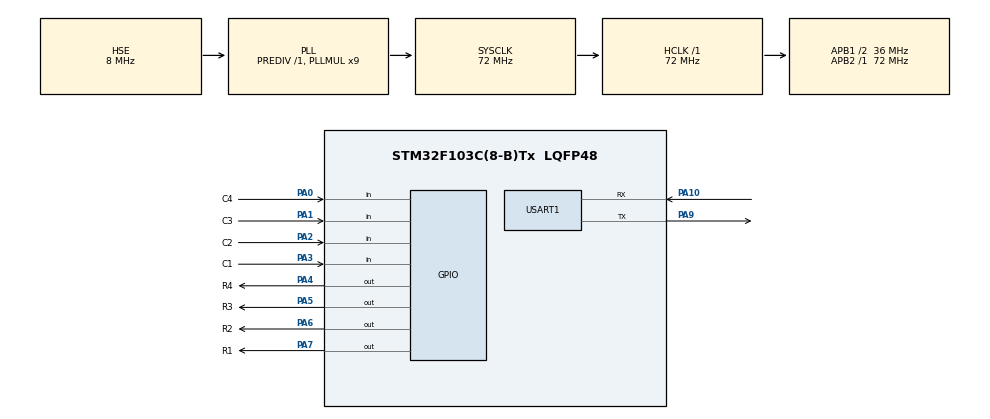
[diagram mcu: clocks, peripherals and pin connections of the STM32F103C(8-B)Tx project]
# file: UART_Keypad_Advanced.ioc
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Mcu.Family=STM32F1
Mcu.Name=STM32F103C(8-B)Tx
Mcu.Package=LQFP48
NVIC.PriorityGroup=NVIC_PRIORITYGROUP_4
PA0-WKUP.GPIO_Label=C4
PA0-WKUP.GPIO_PuPd=GPIO_PULLUP
PA0-WKUP.Signal=GPIO_Input
PA1.GPIO_Label=C3
PA1.GPIO_PuPd=GPIO_PULLUP
PA1.Signal=GPIO_Input
PA10.Mode=Asynchronous
PA10.Signal=USART1_RX
PA13.Mode=Serial_Wire
PA13.Signal=SYS_JTMS-SWDIO
PA14.Mode=Serial_Wire
PA14.Signal=SYS_JTCK-SWCLK
PA2.GPIO_Label=C2
PA2.GPIO_PuPd=GPIO_PULLUP
PA2.Signal=GPIO_Input
PA3.GPIO_Label=C1
PA3.GPIO_PuPd=GPIO_PULLUP
PA3.Signal=GPIO_Input
PA4.GPIO_Label=R4
PA4.Signal=GPIO_Output
PA5.GPIO_Label=R3
PA5.Signal=GPIO_Output
PA6.GPIO_Label=R2
PA6.Signal=GPIO_Output
PA7.GPIO_Label=R1
PA7.Signal=GPIO_Output
PA9.Mode=Asynchronous
PA9.Signal=USART1_TX
PD0-OSC_IN.Mode=HSE-External-Oscillator
PD0-OSC_IN.Signal=RCC_OSC_IN
PD1-OSC_OUT.Mode=HSE-External-Oscillator
PD1-OSC_OUT.Signal=RCC_OSC_OUT
ProjectManager.HeapSize=0x200
ProjectManager.StackSize=0x400
ProjectManager.TargetToolchain=STM32CubeIDE
RCC.AHBFreq_Value=72000000
RCC.APB1CLKDivider=RCC_HCLK_DIV2
RCC.APB1Freq_Value=36000000
RCC.APB1TimFreq_Value=72000000
RCC.APB2Freq_Value=72000000
RCC.APB2TimFreq_Value=72000000
RCC.HCLKFreq_Value=72000000
RCC.PLLMUL=RCC_PLL_MUL9
RCC.PLLSourceVirtual=RCC_PLLSOURCE_HSE
RCC.SYSCLKFreq_VALUE=72000000
RCC.SYSCLKSource=RCC_SYSCLKSOURCE_PLLCLK
RCC.USBFreq_Value=72000000
USART1.VirtualMode=VM_ASYNC
board=custom

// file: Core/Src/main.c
/* USER CODE BEGIN Header */
/**
  ******************************************************************************
  * @file           : main.c
  * @brief          : Controlador de teclado de matriz 4x4 con interfaz de terminal mejorada
  * @author         : Daniel Ruiz
  * @date           : 01 Oct 2025
  ******************************************************************************
  * @description
  * Este programa implementa un escáner de teclado matricial 4x4 para microcontroladores STM32.
  * Características:
  * - Visualización de teclas en tiempo real con retroalimentación visual
  * - Salida codificada por colores mediante secuencias de escape ANSI
  * - Seguimiento del historial de teclas
  * - Display de estadísticas (total de teclas presionadas)
  * - Layout en terminal limpio y organizado
  *
  * Configuración de hardware:
  * - Filas (R1-R4): Pines de salida configurados como push-pull
  * - Columnas (C1-C4): Pines de entrada con resistencias pull-up
  * - UART1: 115200 baudios, configuración 8N1
  *
  * Requisitos de terminal
  *   - Debe de soportar secuencias de salida ANSI
  *   - Recomensadas: Putty, Tera Term, o similar
  *
  * Keypad Layout:
  *     C1   C2   C3   C4
  * R1  1    2    3    A
  * R2  4    5    6    B
  * R3  7    8    9    C
  * R4  *    0    #    D
  *
  * @attention
  *
  * Copyright (c) 2025 STMicroelectronics.
  * All rights reserved.
  *
  * This software is licensed under terms that can be found in the LICENSE file
  * in the root directory of this software component.
  * If no LICENSE file comes with this software, it is provided AS-IS.
  *
  ******************************************************************************
  */
/* USER CODE END Header */
#include "main.h"

/* USER CODE BEGIN Includes */
#include "stdio.h"
#include "string.h"
/* USER CODE END Includes */

/* USER CODE BEGIN PD */

// Configuración del tiempo de debounce (en milisegundos)
#define DEBOUNCE_TIME       50      // Tiempo mínimo entre lecturas de teclas
#define KEY_REPEAT_TIME     200     // Tiempo antes de permitir la repetición de la misma tecla
#define KEY_RELEASE_TIME    500     // Tiempo de espera antes de borrar la última tecla

// TIempo de actualización de display
#define DISPLAY_UPDATE_MS   100     // Actualiza el display cada 100 ms

//Configuración de historial de teclas
#define HISTORY_SIZE        10      // Numero de teclas a mantener en el historial

// Códigos ANSI para salida a terminal
#define COLOR_RESET         "\033[0m"
#define COLOR_RED           "\033[31m"
#define COLOR_GREEN         "\033[32m"
#define COLOR_YELLOW        "\033[33m"
#define COLOR_BLUE          "\033[34m"
#define COLOR_MAGENTA       "\033[35m"
#define COLOR_CYAN          "\033[36m"
#define COLOR_WHITE         "\033[37m"
#define COLOR_BRIGHT_GREEN  "\033[92m"
#define COLOR_BRIGHT_CYAN   "\033[96m"
#define COLOR_BRIGHT_YELLOW "\033[93m"

// Formato de texto ANSI
#define TEXT_BOLD           "\033[1m"
#define TEXT_DIM            "\033[2m"
#define TEXT_UNDERLINE      "\033[4m"
#define TEXT_BLINK          "\033[5m"

// Control de cursor ANSI
#define CURSOR_HOME         "\033[H"
#define CLEAR_SCREEN        "\033[2J"
#define CLEAR_LINE          "\033[2K"
#define CURSOR_HIDE         "\033[?25l"
#define CURSOR_SHOW         "\033[?25h"

/* USER CODE END PD */

UART_HandleTypeDef huart1;

/* USER CODE BEGIN PV */

// Variables de seguimiento del estado del teclado
static uint32_t lastKeyTime = 0;  // Marca de tiempo de la última pulsación de tecla válida
static char lastKey = 0;          // Última tecla presionada
static uint8_t keyReleased = 1;   // Bandera para rastrear si se soltó la tecla

// Variables de estado del display
static uint32_t lastDisplayUpdate = 0;    // Última vez que el display fue actualizado
static uint32_t totalKeysPressed = 0;      // Cuenta total de teclas presionadas
static char     keyHistory[HISTORY_SIZE]; // Buffer circular para las teclas presionadas
static uint8_t  historyIndex = 0;         // Posición actual del buffer de historial

// Buffer para las cadenas formateadas
char displayBuffer[512];                  // Buffer formateado para salidas complejas

/* USER CODE END PV */

void SystemClock_Config(void);
static void MX_GPIO_Init(void);
static void MX_USART1_UART_Init(void);
/* USER CODE BEGIN PFP */

/**
 * @brief Escanea el teclado de matriz 4x4 y devuelve la tecla presionada
 * @retval char: carácter ASCII de la tecla presionada, o 0 si no se presionó ninguna tecla
 */
char Read_Keypad(void);

/**
 * @brief  Inicializa el display de la terminal
 * @retval None
 */
void Terminal_Init(void);

/**
 * @brief  Actualiza la pantalla del terminal con el estado actual del teclado
 * @param  currentKey: Tecla presionada actualmente (0 si no hay ninguna)
 * @retval None
 */
void Terminal_Update(char currentKey);

/**
 * @brief  Agrega una clave al buffer de historial
 * @param  key: Tecla a agregar
 * @retval None
 */
void AddToHistory(char key);

/**
 * @brief  Transmite una cadena a través de UART
 * @param  str: Cadena terminada en nulo para transmitir
 * @retval None
 */
void UART_Print(const char* str);

/* USER CODE END PFP */

int main(void)
{

  /* USER CODE BEGIN 1 */
  char currentKey = 0;
  char previousKey = 0;
  /* USER CODE END 1 */

  /* MCU Configuration--------------------------------------------------------*/

  /* Reset of all peripherals, Initializes the Flash interface and the Systick. */
  HAL_Init();

  /* Configure the system clock */
  SystemClock_Config();

  /* Initialize all configured peripherals */
  MX_GPIO_Init();
  MX_USART1_UART_Init();
  /* USER CODE BEGIN 2 */

  // Pequeño delay para que termine de inicialziar la terminal
  HAL_Delay(500);

  // Inicializa el display de la terminal
  Terminal_Init();

  // Actualización inicial del display
  Terminal_Update(0);

  /* USER CODE END 2 */

  /* Infinite loop */
  /* USER CODE BEGIN WHILE */
  while (1)
  {

    // Escanea el teclado matricial por teclas presionadas
    currentKey = Read_Keypad();

    // Revisa si hay nuevas teclas presionadas (diferente de la anterior)
    if(currentKey != 0 && currentKey != previousKey)
    {
      // Agrega la tecla al historial
      AddToHistory(currentKey);

      // Actualiza la tecla anterior
      previousKey = currentKey;

      //Actualiza el display inmediatamente cuando se presiona una tecla
      Terminal_Update(currentKey);
    }
    else if(currentKey == 0 && previousKey != 0)
    {
      // La tecla fue liberada
      previousKey = 0;
    }

    //Actualización periódica del display (cada DISPLAY_UPDATE_MS)
    uint32_t currentTime = HAL_GetTick();
    if((currentTime - lastDisplayUpdate) >= DISPLAY_UPDATE_MS)
    {
      lastDisplayUpdate = currentTime;
      Terminal_Update(currentKey);
    }

    // Pequeño delay para prevenir sobrecarga de CPU
    HAL_Delay(10);

    /* USER CODE END WHILE */

  }
}

void SystemClock_Config(void)
{
  RCC_OscInitTypeDef RCC_OscInitStruct = {0};
  RCC_ClkInitTypeDef RCC_ClkInitStruct = {0};

  /** Initializes the RCC Oscillators according to the specified parameters
  * in the RCC_OscInitTypeDef structure.
  */
  RCC_OscInitStruct.OscillatorType = RCC_OSCILLATORTYPE_HSE;
  RCC_OscInitStruct.HSEState = RCC_HSE_ON;
  RCC_OscInitStruct.HSEPredivValue = RCC_HSE_PREDIV_DIV1;
  RCC_OscInitStruct.HSIState = RCC_HSI_ON;
  RCC_OscInitStruct.PLL.PLLState = RCC_PLL_ON;
  RCC_OscInitStruct.PLL.PLLSource = RCC_PLLSOURCE_HSE;
  RCC_OscInitStruct.PLL.PLLMUL = RCC_PLL_MUL9;
  if (HAL_RCC_OscConfig(&RCC_OscInitStruct) != HAL_OK)
  {
    Error_Handler();
  }

  /** Initializes the CPU, AHB and APB buses clocks
  */
  RCC_ClkInitStruct.ClockType = RCC_CLOCKTYPE_HCLK|RCC_CLOCKTYPE_SYSCLK
                              |RCC_CLOCKTYPE_PCLK1|RCC_CLOCKTYPE_PCLK2;
  RCC_ClkInitStruct.SYSCLKSource = RCC_SYSCLKSOURCE_PLLCLK;
  RCC_ClkInitStruct.AHBCLKDivider = RCC_SYSCLK_DIV1;
  RCC_ClkInitStruct.APB1CLKDivider = RCC_HCLK_DIV2;
  RCC_ClkInitStruct.APB2CLKDivider = RCC_HCLK_DIV1;

  if (HAL_RCC_ClockConfig(&RCC_ClkInitStruct, FLASH_LATENCY_2) != HAL_OK)
  {
    Error_Handler();
  }
}

static void MX_USART1_UART_Init(void)
{

  huart1.Instance = USART1;
  huart1.Init.BaudRate = 115200;
  huart1.Init.WordLength = UART_WORDLENGTH_8B;
  huart1.Init.StopBits = UART_STOPBITS_1;
  huart1.Init.Parity = UART_PARITY_NONE;
  huart1.Init.Mode = UART_MODE_TX_RX;
  huart1.Init.HwFlowCtl = UART_HWCONTROL_NONE;
  huart1.Init.OverSampling = UART_OVERSAMPLING_16;
  if (HAL_UART_Init(&huart1) != HAL_OK)
  {
    Error_Handler();
  }

}

static void MX_GPIO_Init(void)
{
  GPIO_InitTypeDef GPIO_InitStruct = {0};

  /* GPIO Ports Clock Enable */
  __HAL_RCC_GPIOD_CLK_ENABLE();
  __HAL_RCC_GPIOA_CLK_ENABLE();

  /*Configure GPIO pin Output Level */
  HAL_GPIO_WritePin(GPIOA, R4_Pin|R3_Pin|R2_Pin|R1_Pin, GPIO_PIN_RESET);

  /*Configure GPIO pins : C4_Pin C3_Pin C2_Pin C1_Pin */
  GPIO_InitStruct.Pin = C4_Pin|C3_Pin|C2_Pin|C1_Pin;
  GPIO_InitStruct.Mode = GPIO_MODE_INPUT;
  GPIO_InitStruct.Pull = GPIO_PULLUP;
  HAL_GPIO_Init(GPIOA, &GPIO_InitStruct);

  /*Configure GPIO pins : R4_Pin R3_Pin R2_Pin R1_Pin */
  GPIO_InitStruct.Pin = R4_Pin|R3_Pin|R2_Pin|R1_Pin;
  GPIO_InitStruct.Mode = GPIO_MODE_OUTPUT_PP;
  GPIO_InitStruct.Pull = GPIO_NOPULL;
  GPIO_InitStruct.Speed = GPIO_SPEED_FREQ_LOW;
  HAL_GPIO_Init(GPIOA, &GPIO_InitStruct);

}

/* USER CODE BEGIN 4 */

/**
 ******************************************************************************
 * @brief  Transmite una cadena a través de UART
 * @param  str: Cadena terminada en nulo para transmitir
 * @retval None
 ******************************************************************************
 */
void UART_Print(const char* str)
{
  HAL_UART_Transmit(&huart1, (uint8_t*)str, strlen(str), 1000);
}

/**
 ******************************************************************************
 * @brief  Inicializa el display de la terminal
 * @retval None
 ******************************************************************************
 */
void Terminal_Init(void)
{
  // Limpia la pantalla y esconde el cursor para un display más limpio
  UART_Print(CLEAR_SCREEN CURSOR_HOME CURSOR_HIDE);

  // Imprime el header con el título
  sprintf(displayBuffer,
    "%s╔═══════════════════════════════════════════════╗%s\r\n"
    "%s║         %sMONITOR TECLADO MATRICIAL 4x4%s         %s║%s\r\n"
    "%s╠═══════════════════════════════════════════════╣%s\r\n\r\n",
    COLOR_CYAN, COLOR_RESET,
    COLOR_CYAN, TEXT_DIM, COLOR_RESET, COLOR_CYAN,COLOR_RESET,
    COLOR_CYAN, COLOR_RESET);
  UART_Print(displayBuffer);

  // Inicializa el buffer de historial con espacios
  for(int i =0 ; i < HISTORY_SIZE; i++)
  {
    keyHistory[i] = ' ';
  }
}

/**
 ******************************************************************************
 * @brief  Actualiza la pantalla del terminal con el estado actual del teclado
 * @param  currentKey: Tecla presionada actualmente (0 si no hay ninguna)
 * @retval None
 ******************************************************************************
 */
void Terminal_Update(char currentKey)
{
  // Mueve el cursos a la posición (5,1) para actualizar el área de estado
  UART_Print("\33[5;1H");

  // ═══════════════════════════════════════════════════════════
  //  Tecla actual centrada
  // ═══════════════════════════════════════════════════════════
  if(currentKey != 0)
  {
    sprintf(displayBuffer,
      "%s╔═══════════════════════════════════════════════╗%s\r\n"
      "%s║ TECLA ACTUAL: %s%s[%c]%s%s                             ║%s\r\n"
      "%s╚═══════════════════════════════════════════════╝%s\r\n\r\n",
      COLOR_GREEN, COLOR_RESET,
      COLOR_GREEN, TEXT_BOLD, COLOR_BRIGHT_YELLOW, currentKey, COLOR_RESET, COLOR_GREEN, COLOR_RESET,
      COLOR_GREEN, COLOR_RESET);
  }
  else
  {
    sprintf(displayBuffer,
      "%s╔═══════════════════════════════════════════════╗%s\r\n"
      "%s║ TECLA ACTUAL: %s[Esperando...]%s                  ║%s\r\n"
      "%s╚═══════════════════════════════════════════════╝%s\r\n\r\n",
      TEXT_DIM, COLOR_RESET,
      TEXT_DIM, COLOR_WHITE, TEXT_DIM, COLOR_RESET,
      TEXT_DIM, COLOR_RESET);
  }
  UART_Print(displayBuffer);

  // ═══════════════════════════════════════════════════════════
  // Historial de teclas
  // ═══════════════════════════════════════════════════════════
  sprintf(displayBuffer,
    "%s┌───────────────────────────────────────────────┐%s\r\n"
    "%s│ %sHISTORIAL DE TECLAS (Últimas %d teclas):%s      │%s\r\n"
    "%s├───────────────────────────────────────────────┤%s\r\n"
    "%s│ %s",
    COLOR_BLUE, COLOR_RESET,
    COLOR_BLUE, COLOR_BRIGHT_CYAN, HISTORY_SIZE, COLOR_BLUE, COLOR_RESET,
    COLOR_BLUE, COLOR_RESET,
    COLOR_BLUE, COLOR_YELLOW);
  UART_Print(displayBuffer);

  // Imprime el buffer del historial (Del más nuevo, al más antiguo)
  for(int i = 0; i < HISTORY_SIZE; i++)
  {
    int idx = (historyIndex - 1 - i + HISTORY_SIZE) % HISTORY_SIZE;
    if(keyHistory[idx] != ' ')
    {
      sprintf(displayBuffer, "[%c] ", keyHistory[idx]);
      UART_Print(displayBuffer);
    }else{
      UART_Print("[_] ");
    }
  }

  sprintf(displayBuffer, "%s      │%s\r\n"
	"%s└───────────────────────────────────────────────┘%s\r\n\r\n",
	COLOR_BLUE, COLOR_RESET,
	COLOR_BLUE, COLOR_RESET);
  UART_Print(displayBuffer);

  // ═══════════════════════════════════════════════════════════
  // Display de estadísticas
  // ═══════════════════════════════════════════════════════════

  // Primera parte
  sprintf(displayBuffer,
      "%s┌───────────────────────────────────────────────┐%s\r\n"
      "%s│ %sESTADÍSTICAS:%s                                 │%s\r\n"
      "%s├───────────────────────────────────────────────┤%s\r\n"
      "%s│ Total de Teclas Presionadas: ",
      COLOR_MAGENTA, COLOR_RESET,
      COLOR_MAGENTA, COLOR_BRIGHT_YELLOW, COLOR_MAGENTA, COLOR_RESET,
      COLOR_MAGENTA, COLOR_RESET,
      COLOR_MAGENTA);
  UART_Print(displayBuffer);

  // El número con su color
  snprintf(displayBuffer, sizeof(displayBuffer),
      " %s%-5lu%s",
      COLOR_BRIGHT_GREEN, totalKeysPressed, COLOR_MAGENTA);
  UART_Print(displayBuffer);

  // Parte final
  snprintf(displayBuffer, sizeof(displayBuffer),
      "           │%s\r\n"
      "%s└───────────────────────────────────────────────┘%s\r\n\r\n",
      COLOR_RESET,
      COLOR_MAGENTA, COLOR_RESET);
  UART_Print(displayBuffer);

  // ═══════════════════════════════════════════════════════════
  // Referencia de teclado matricial
  // ═══════════════════════════════════════════════════════════
  // Parte 1
  sprintf(displayBuffer,
	  "%s╔═══════════════════════════════════════════════╗%s\r\n"
	  "%s║            Distribución de teclado            ║%s\r\n"
	  "%s╠═══════════════════════════════════════════════╣%s\r\n"
	  "%s║             ┌────┬────┬────┬────┐             ║%s\r\n"
	  ,
	  COLOR_WHITE, COLOR_RESET,
	  COLOR_WHITE, COLOR_RESET,
	  COLOR_WHITE, COLOR_RESET,
	  COLOR_WHITE, COLOR_RESET
  );

  UART_Print(displayBuffer);

  // Parte2
  sprintf(displayBuffer,
	  "%s║             │ %s1%s  │ %s2%s  │ %s3%s  │ %sA%s  │             ║%s\r\n"
	  "%s║             ├────┼────┼────┼────┤             ║%s\r\n"
	  "%s║             │ %s4%s  │ %s5%s  │ %s6%s  │ %sB%s  │             ║%s\r\n"
	  "%s║             ├────┼────┼────┼────┤             ║%s\r\n"
	  ,
	  COLOR_WHITE, COLOR_BLUE, COLOR_WHITE, COLOR_BLUE, COLOR_WHITE, COLOR_BLUE, COLOR_WHITE, COLOR_RED, COLOR_WHITE, COLOR_RESET,
	  COLOR_WHITE, COLOR_RESET,
	  COLOR_WHITE, COLOR_BLUE, COLOR_WHITE, COLOR_BLUE, COLOR_WHITE, COLOR_BLUE, COLOR_WHITE, COLOR_RED, COLOR_WHITE, COLOR_RESET,
	  COLOR_WHITE, COLOR_RESET
  );

  UART_Print(displayBuffer);

  //Parte 3
  sprintf(displayBuffer,
	  "%s║             │ %s7%s  │ %s8%s  │ %s9%s  │ %sC%s  │             ║%s\r\n"
	  "%s║             ├────┼────┼────┼────┤             ║%s\r\n"
	  "%s║             │ %s*%s  │ %s0%s  │ %s#%s  │ %sD%s  │             ║%s\r\n"
	  "%s║             └────┴────┴────┴────┘             ║%s\r\n"
  ,
  	  COLOR_WHITE, COLOR_BLUE, COLOR_WHITE, COLOR_BLUE, COLOR_WHITE, COLOR_BLUE, COLOR_WHITE, COLOR_RED, COLOR_WHITE, COLOR_RESET,
  	  COLOR_WHITE, COLOR_RESET,
	  COLOR_WHITE, COLOR_RED, COLOR_WHITE, COLOR_BLUE, COLOR_WHITE, COLOR_RED, COLOR_WHITE, COLOR_RED, COLOR_WHITE, COLOR_RESET,
	  COLOR_WHITE, COLOR_RESET
  );
  UART_Print(displayBuffer);

  //Parte 4
  sprintf(displayBuffer,
	  "%s╚═══════════════════════════════════════════════╝%s\r\n"
  ,
  COLOR_WHITE, COLOR_RESET
  );
  UART_Print(displayBuffer);

  // Footer
  sprintf(displayBuffer,
    "\r\n%s%s  Estado: %sACTIVO%s | Presiona cualquier tecla para probar...%s\r\n",
    TEXT_DIM, COLOR_WHITE, COLOR_GREEN, COLOR_WHITE, COLOR_RESET);
  UART_Print(displayBuffer);
}

/**
 ******************************************************************************
 * @brief  Agrega una clave al buffer de historial
 * @param  key: Tecla a agregar
 * @retval None
 ******************************************************************************
 */
void AddToHistory(char key)
{
  keyHistory[historyIndex] = key;
  historyIndex = (historyIndex + 1) % HISTORY_SIZE;
  totalKeysPressed++;
}

/**
 ******************************************************************************
 * @brief Escanea el teclado matricial 4x4 para detectar pulsaciones de teclas
 * @details Algoritmo de escaneo
 *          1. Configura todas las filas en HIGH
 *          2. Para cada fila
 *            a) Configura la fila actual en LOW
 *            b) Lee tolas las columnas
 *            c) Si la columna es LOW, la tecla presionada es [fila][columna]
 *            d) Restaura las filas en HIGH
 *          3. Implementa la eliminación de rebotes y la prevención de repetición
 *
 * @note El escaneo del teclado funciona así:
 *          - Poner una fila en LOW a la vez
 *          - Leer los pines de columna (con pull-ups)
 *          - Cuando se pulsa una tecla, conecta la fila con la columna
 *          - El LOW de la fila se propaga a la columna
 *          - Esto crea una lectura LOW en el pin de la columna
 *
 * @retval char: carácter ASCII de la tecla presionada, o 0 si no se presionó ninguna tecla
 ******************************************************************************
 */
char Read_Keypad(void)
{
	// Keypad character mapping
	char keyMap[4][4] =
	{
		{'1', '2', '3', 'A'}, // Fila 1
		{'4', '5', '6', 'B'}, // Fila 2
		{'7', '8', '9', 'C'}, // FIla 3
		{'*', '0', '#', 'D'}  // Fila 4
	};

	// Definiciones de puerto GPIO para cada fila
	GPIO_TypeDef* rowPorts[4] = {
			R1_GPIO_Port,
			R2_GPIO_Port,
			R3_GPIO_Port,
			R4_GPIO_Port
	};

	// Definiciones de pines GPIO paracada fila
	uint16_t rowPins[4] = {
			R1_Pin,
			R2_Pin,
			R3_Pin,
			R4_Pin
	};

	// Definiciones de puerto GPIO para cada columna
	GPIO_TypeDef* colPorts[4] ={
			C1_GPIO_Port,
			C2_GPIO_Port,
			C3_GPIO_Port,
			C4_GPIO_Port
	};

	// Definiciones de pines GPIO paracada columna
	uint16_t colPins[4] = {
			C1_Pin,
			C2_Pin,
			C3_Pin,
			C4_Pin
	};

	// Obtener la lectura del tiempo transcurrido
	uint32_t currentTime = HAL_GetTick();

	// COMPROBACIÓN DE REBOTES: Evitar lecturas demasiado frecuentes
	// Si no ha transcurrido suficiente tiempo desde la última lectura, volver inmediatamente
	if ((currentTime - lastKeyTime) < DEBOUNCE_TIME)
	{
		return 0;  // No leer si no ha pasado el tiempo de debounce
	}

	// INICIALIZACIÓN: Configura todos las filas en HIGH antes de escanear
	// Esto asegura empezar en un estadi conocido
	for(int i = 0; i < 4; i++)
	{
		HAL_GPIO_WritePin(rowPorts[i], rowPins[i], GPIO_PIN_SET);
	}

	// CICLO DE ESCANEO PRINCIPAL: Verifica cada fila secuencialmente
	for(int row = 0; row < 4; row++)
	{
		// PASO 1: Activar fila actual (LOW)
		HAL_GPIO_WritePin(rowPorts[row], rowPins[row], GPIO_PIN_RESET);

		// PASO 2: Pequeño delay para permitir que la señal se estabilice
		// Esto evita lecturas falsas debido a transitorios de conmutación GPIO
		HAL_Delay(1);

		// PASO 3: Lee todas las columnas por fila
		for(int col = 0; col < 4; col++)
		{
			// Comprobar si la columna está en LOW (la tecla presionada conecta la fila a la columna)
			if(HAL_GPIO_ReadPin(colPorts[col], colPins[col]) == GPIO_PIN_RESET)
			{
				// Tecla detectada en la posición [fila][columna]
				char pressedKey = keyMap[row][col];

				// LÓGICA DE PREVENCIÓN DE REPETICIÓN DE TECLAS:
				// Permitir la misma pulsación de tecla solo si:
				//    1. Es una tecla diferente a la anterior, O
				//    2. Ha transcurrido suficiente tiempo desde la última pulsación de la misma tecla
				if(pressedKey != lastKey || (currentTime - lastKey) > KEY_REPEAT_TIME)
				{
					// Actualizar el estado de las variables
					lastKey = pressedKey;
					lastKeyTime = currentTime;
					keyReleased = 0;  // Marcar la tecla como presionada actualmente

					// Restaurar todas las filas a HIGH
					for(int i = 0; i < 4; i++)
					{
						HAL_GPIO_WritePin(rowPorts[i], rowPins[i], GPIO_PIN_SET);
					}

					return pressedKey;  // Retorna la tecla presionada
				}
			}
		}

		// PASO 4: Restaurar fila actual a HIGH después de comprobar todas las columnas
		HAL_GPIO_WritePin(rowPorts[row], rowPins[row], GPIO_PIN_SET);
	}

	// DETECCIÓN DE TECLA LIBERADA:
	// Si no se pulsa ninguna tecla y ha transcurrido suficiente tiempo, se borra la última tecla.
	// Esto permite volver a pulsar la misma tecla después de soltarla.
	if((currentTime - lastKeyTime) > KEY_RELEASE_TIME)
	{
		lastKey = 0;
		keyReleased = 1;
	}

	return 0;	// No hay tecla presionada
}

/* USER CODE END 4 */

void Error_Handler(void)
{
  __disable_irq();
  while (1)
  {
  }
}
